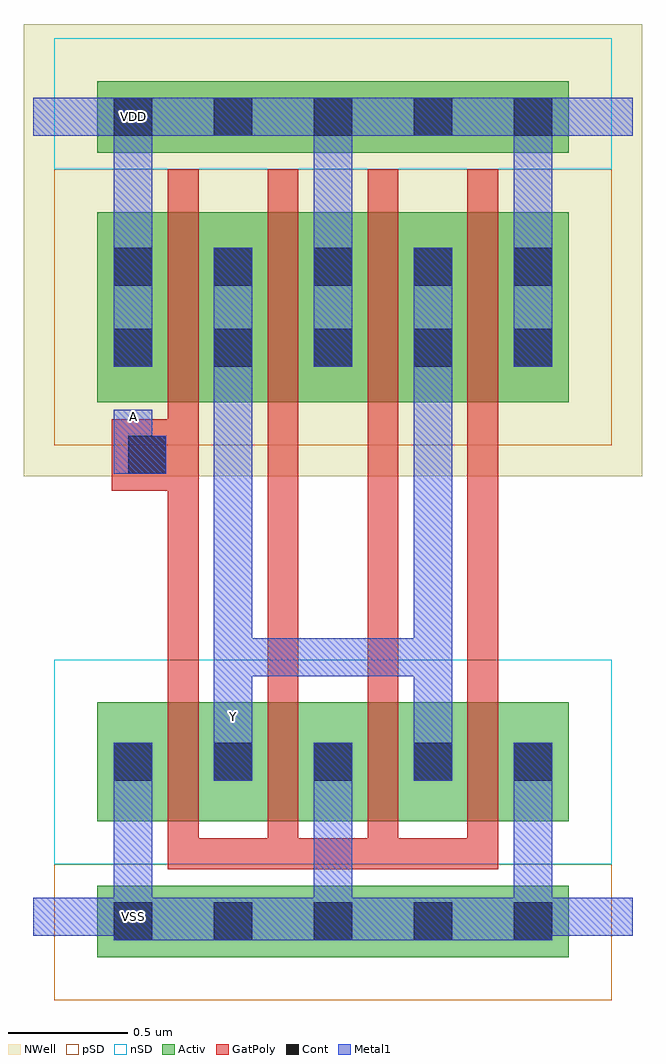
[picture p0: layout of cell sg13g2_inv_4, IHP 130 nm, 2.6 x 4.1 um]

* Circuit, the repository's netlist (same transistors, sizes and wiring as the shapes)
* sg13g2_inv_4 -- generated by design/gen_netlists.py from example_config.json; do not edit.
* family inv, drive 4, L=130n, supply 1.20 V.
* Y = !A
.subckt sg13g2_inv_4 A Y VDD VSS
XMN0 Y A VSS VSS sg13_lv_nmos w=2000n l=130n ng=4 m=1
XMP0 Y A VDD VDD sg13_lv_pmos w=3200n l=130n ng=4 m=1
.ends sg13g2_inv_4

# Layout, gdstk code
import gdstk
lib = gdstk.Library(unit=1e-6, precision=1e-09)
def R(c, l, rs):  # rectangles x0, y0, x1, y1
    for r in rs: c.add(gdstk.rectangle(r[:2], r[2:], *l))
def A(c, l, x, y, w, h, nx, ny, dx, dy):  # array of equal rectangles
    R(c, l, [(x+i*dx, y+j*dy, x+i*dx+w, y+j*dy+h) for i in range(nx) for j in range(ny)])
Activ = (1, 0)
GatPoly = (5, 0)
Cont = (6, 0)
nSD = (7, 0)
Metal1 = (8, 0)
pSD = (14, 0)
NWell = (31, 0)

sg13g2_inv_4 = lib.new_cell('sg13g2_inv_4')
R(sg13g2_inv_4, Activ, [(0.27,-0.17,2.25,0.13), (0.27,0.4,2.25,0.9), (0.27,2.16,2.25,2.96), (0.27,3.21,2.25,3.51)])
A(sg13g2_inv_4, GatPoly, 0.565, 0.2, 0.13, 2.94, 4, 1, 0.42, 0)
R(sg13g2_inv_4, GatPoly, [(0.565,0.2,1.955,0.33), (0.33,1.79,0.695,2.09)])
A(sg13g2_inv_4, Cont, 0.34, -0.1, 0.16, 0.16, 5, 2, 0.42, 0.67)
A(sg13g2_inv_4, Cont, 0.34, 2.31, 0.16, 0.16, 5, 2, 0.42, 0.34)
A(sg13g2_inv_4, Cont, 0.34, 3.28, 0.16, 0.16, 5, 1, 0.42, 0)
R(sg13g2_inv_4, Cont, [(0.4,1.86,0.56,2.02)])
R(sg13g2_inv_4, nSD, [(0.09,0.22,2.43,1.08), (0.09,3.14,2.43,3.69)])
A(sg13g2_inv_4, Metal1, 0.34, -0.08, 0.16, 0.81, 3, 1, 0.84, 0)
A(sg13g2_inv_4, Metal1, 0.34, 2.31, 0.16, 1.13, 3, 1, 0.84, 0)
R(sg13g2_inv_4, Metal1, [(0.34,-0.1,2.18,0.08), (0,-0.08,2.52,0.08), (0.76,0.57,0.92,1.17), (1.6,0.57,1.76,1.17), (0.76,1.01,0.92,2.81), (0.76,1.01,1.76,1.17), (1.6,1.01,1.76,2.81), (0.34,1.86,0.5,2.13), (0.34,1.86,0.56,2.02), (0,3.28,2.52,3.44), (0.34,3.28,2.18,3.44)])
R(sg13g2_inv_4, pSD, [(0.09,-0.35,2.43,0.22), (0.09,1.98,2.43,3.14)])
R(sg13g2_inv_4, NWell, [(-0.04,1.85,2.56,3.75)])
sg13g2_inv_4.add(gdstk.Label('VSS', (0.42,0), layer=8, texttype=25))
sg13g2_inv_4.add(gdstk.Label('A', (0.42,2.1), layer=8, texttype=25))
sg13g2_inv_4.add(gdstk.Label('VDD', (0.42,3.36), layer=8, texttype=25))
sg13g2_inv_4.add(gdstk.Label('Y', (0.84,0.84), layer=8, texttype=25))

lib.write_gds('sg13g2_inv_4.gds')
